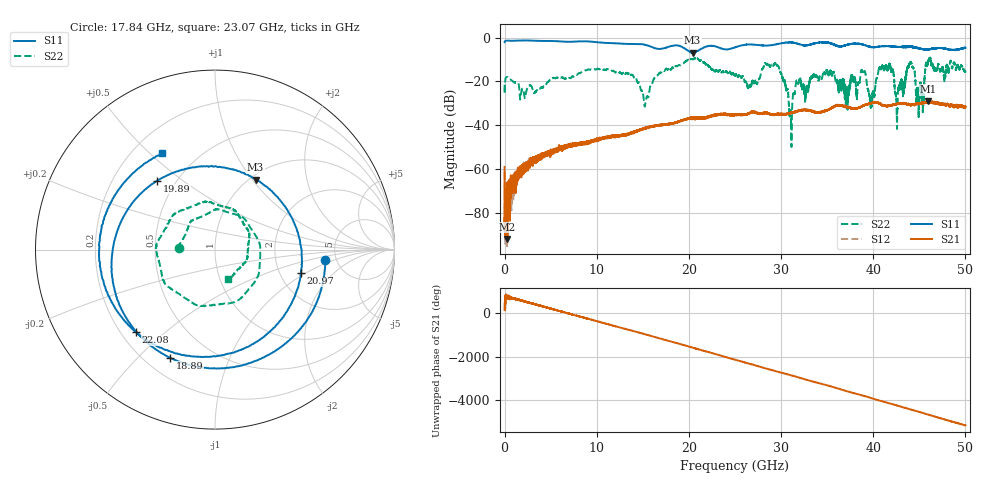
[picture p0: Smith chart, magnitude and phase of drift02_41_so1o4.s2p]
!Created with skrf (http://scikit-rf.org).
# Hz S RI R 50.0
!freq ReS11 ImS11 ReS21 ImS21 ReS12 ImS12 ReS22 ImS22
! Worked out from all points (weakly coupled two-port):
!   10001 points, 300 kHz to 50 GHz, reference 50 ohm
!   highest |S21| = -29.11 dB at 45.99 GHz (marker M1); lowest = -92.0 dB at 310.3 MHz (marker M2)
!   lowest |S11| = -6.9 dB at 20.4 GHz (marker M3), VSWR 2.64, Z = 53.1 + j51.9 ohm
!   |S11| at or under -10 dB: nowhere
!   |S22| runs from -49.9 to -8.9 dB; largest |S21 - S12| = 0.0031
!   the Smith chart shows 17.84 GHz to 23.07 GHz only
!   S11 on the Smith chart (normalised r, x): 17.84 GHz: 4.08, -0.73; 18.89 GHz: 0.30, -0.63; 19.89 GHz: 0.40, +0.41; 20.97 GHz: 2.61, -0.92; 22.08 GHz: 0.26, -0.40; 23.07 GHz: 0.32, +0.55
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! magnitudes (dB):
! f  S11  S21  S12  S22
! 300 kHz  -2.1  -59.0  -61.4  -21.5
! 310.3 MHz  -1.4  -92.0  -72.1  -18.0
! 8.335 GHz  -1.7  -47.7  -48.3  -15.7
! 15.32 GHz  -3.4  -41.3  -41.2  -29.3
! 16.67 GHz  -5.2  -40.2  -40.2  -16.9
! 17.84 GHz  -4.2  -39.4  -39.4  -13.9
! 18.89 GHz  -3.7  -38.4  -38.4  -12.5
! 19.89 GHz  -6.0  -37.1  -37.0  -10.2
! 20.4 GHz  -6.9  -37.0  -36.5  -10.0
! 20.97 GHz  -6.1  -36.5  -36.5  -9.7
! 22.08 GHz  -3.9  -36.3  -36.3  -12.6
! 23.07 GHz  -4.3  -35.3  -35.7  -14.9
! 25 GHz  -4.5  -35.4  -35.3  -17.5
! 29.52 GHz  -3.1  -34.8  -35.2  -12.6
! 31.03 GHz  -2.2  -34.5  -34.6  -35.5
! 33.34 GHz  -3.0  -33.6  -33.5  -18.2
! 39.78 GHz  -4.4  -29.9  -30.1  -31.7
! 41.67 GHz  -3.9  -31.1  -31.2  -13.1
! 44.18 GHz  -4.3  -30.8  -30.8  -12.3
! 44.85 GHz  -4.8  -30.1  -30.1  -25.8
! 45.99 GHz  -5.5  -29.1  -29.4  -10.8
! 50 GHz  -4.7  -31.6  -32.0  -15.9
